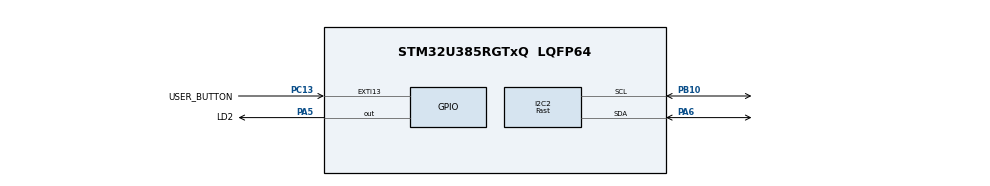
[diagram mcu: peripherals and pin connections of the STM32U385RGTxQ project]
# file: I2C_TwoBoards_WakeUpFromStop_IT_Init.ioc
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CORTEX_M33_NS.userName=CORTEX_M33
I2C2.Analog_Filter=I2C_ANALOGFILTER_DISABLE
I2C2.I2C_Fall_Time=10
I2C2.I2C_Rise_Time=100
I2C2.I2C_Speed_Mode=I2C_Fast
I2C2.OwnAddress=SLAVE_OWN_ADDRESS
I2C2.Timing=0x20601336
Mcu.Family=STM32U3
Mcu.Name=STM32U385RGTxQ
Mcu.Package=LQFP64
NVIC.EXTI13_IRQn=true\:0\:0\:false\:false\:true\:true\:true\:true
NVIC.PriorityGroup=NVIC_PRIORITYGROUP_4
PA5.GPIO_Label=LD2
PA5.Signal=GPIO_Output
PA6.GPIO_Pu=GPIO_PULLUP
PA6.GPIO_Speed=GPIO_SPEED_FREQ_HIGH
PA6.Mode=I2C
PA6.Signal=I2C2_SDA
PB10.GPIO_Pu=GPIO_PULLUP
PB10.GPIO_Speed=GPIO_SPEED_FREQ_HIGH
PB10.Mode=I2C
PB10.Signal=I2C2_SCL
PC13.GPIO_Label=USER_BUTTON
PC13.GPIO_ModeDefaultEXTI=GPIO_MODE_IT_RISING
PC13.GPIO_PuPd=GPIO_PULLDOWN
PC13.Signal=GPXTI13
ProjectManager.HeapSize=0x200
ProjectManager.StackSize=0x400
ProjectManager.TargetToolchain=EWARM V9.30
RCC.ADCFreq_Value=96000000
RCC.AHBFreq_Value=96000000
RCC.APB1Freq_Value=96000000
RCC.APB1TimFreq_Value=96000000
RCC.APB2Freq_Value=96000000
RCC.APB2TimFreq_Value=96000000
RCC.APB3Freq_Value=96000000
RCC.CodegenConfigPeriph=false
RCC.CortexFreq_Value=12000000
RCC.HCLKFreq_Value=96000000
RCC.HSE_VALUE=16000000
RCC.HSI48_VALUE=48000000
RCC.HSI_VALUE=16000000
RCC.I2C1CLockSelection=RCC_I2C1CLKSOURCE_MSIK
RCC.I2C2CLockSelection=RCC_I2C2CLKSOURCE_MSIK
RCC.LSE_VALUE=32768
RCC.LSIDIV_VALUE=32000
RCC.MSISDIV=RCC_MSI_DIV1
RCC.SYSCLKFreq_VALUE=96000000
RCC.USBFreq_Value=96000000
VP_ICACHE_VS_ICACHE.Mode=DirectMappedCache
VP_PWR_VS_DBSignals.Mode=DisableDeadBatterySignals
VP_PWR_VS_LPOM.Mode=PowerOptimisation
VP_PWR_VS_SECSignals.Mode=Security/Privilege
board=custom

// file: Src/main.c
/* USER CODE BEGIN Header */
/**
  ******************************************************************************
  * @file    Examples_LL/I2C/I2C_TwoBoards_WakeUpFromStop_IT_Init/Src/main.c
  * @author  MCD Application Team
  * @brief   This example describes how to send/receive bytes over I2C IP using
  *          the STM32U3xx I2C LL API.
  *          Peripheral initialization done using LL unitary services functions.
  ******************************************************************************
  * @attention
  *
  * Copyright (c) 2024 STMicroelectronics.
  * All rights reserved.
  *
  * This software is licensed under terms that can be found in the LICENSE file
  * in the root directory of this software component.
  * If no LICENSE file comes with this software, it is provided AS-IS.
  *
  ******************************************************************************
  */
/* USER CODE END Header */
#include "main.h"

/* USER CODE BEGIN PD */
/**
  * @brief I2C devices settings
  */

/**
  * @brief Define related to SlaveTransmit process
  */
#define SLAVE_BYTE_TO_SEND       0xA5

/* USER CODE END PD */

/* USER CODE BEGIN PV */

#ifndef SLAVE_BOARD
/**
  * @brief Variables related to MasterReceive process
  */
uint8_t      aReceiveBuffer[0xF] = {0};
__IO uint8_t ubReceiveIndex      = 0;
__IO uint8_t ubButtonPress       = 0;
#endif /* SLAVE_BOARD */

/* USER CODE END PV */

void SystemClock_Config(void);
static void MX_GPIO_Init(void);
static void MX_ICACHE_Init(void);
static void MX_I2C2_Init(void);
/* USER CODE BEGIN PFP */
#ifndef SLAVE_BOARD
#endif /* MASTER_BOARD */
void     LED_On(void);
void     LED_Off(void);
void     LED_Blinking(uint32_t Period);
#ifdef SLAVE_BOARD
void     Configure_PWR(void);
void     EnterSTOP0Mode(void);
#else /* MASTER_BOARD */
void     WaitForUserButtonPress(void);
void     Handle_I2C_Master(void);
#endif /* SLAVE_BOARD */

/* USER CODE END PFP */

int main(void)
{

  /* MCU Configuration--------------------------------------------------------*/

  /* Reset of all peripherals, Initializes the Flash interface and the Systick. */

  /* System interrupt init*/
  NVIC_SetPriorityGrouping(NVIC_PRIORITYGROUP_4);

  /* Configure the system clock */
  SystemClock_Config();

  /* Initialize all configured peripherals */
  MX_GPIO_Init();
  MX_ICACHE_Init();
  MX_I2C2_Init();
  /* USER CODE BEGIN 2 */
#ifndef SLAVE_BOARD
#endif /* SLAVE_BOARD */

  /* Set LD2 Off */
  LED_Off();

#ifdef SLAVE_BOARD
  /* Configure Power IP */
  Configure_PWR();

  /* Enter Stop0 mode */
  EnterSTOP0Mode();
#else /* MASTER_BOARD */
  /* Wait for User push-button press to start transfer */
  WaitForUserButtonPress();

  /* Handle I2C2 events (Master) */
  Handle_I2C_Master();
#endif /* SLAVE_BOARD */

  /* USER CODE END 2 */

  /* Infinite loop */
  while (1)
  {

  }
}

void SystemClock_Config(void)
{
  /** Enable Epod Booster
  */
  LL_AHB1_GRP2_EnableClock(LL_AHB1_GRP2_PERIPH_PWR);
  LL_RCC_SetEPODBoosterClkSource(LL_RCC_EPODBOOSTCLKSRCE_MSIS);
  LL_RCC_SetEPODBoosterClkPrescaler(LL_RCC_EPODBOOSTCLKPRESCAL_1);
  LL_PWR_EnableEPODBooster();
  while(LL_PWR_IsActiveFlag_BOOST() != 1U)
  {
  }

  /** Configure the main internal regulator output voltage
  */
  LL_PWR_SetRegulVoltageScaling(LL_PWR_REGU_VOLTAGE_SCALE1);
  while(LL_PWR_GetRegulCurrentVOS() != LL_PWR_REGU_VOLTAGE_SCALE1)
  {
  }

  /** Set Flash latency before switching to MSIS
  */
  LL_FLASH_SetLatency(LL_FLASH_LATENCY_2);
  while(LL_FLASH_GetLatency() != LL_FLASH_LATENCY_2)
  {
  }

  /** Activate MSIS as source
  */
  LL_RCC_MSIS_SetClockSource(LL_RCC_MSIS_CLOCK_SOURCE_RC0);
  LL_RCC_MSIS_SetClockDivision(LL_RCC_MSIS_CLOCK_SOURCE_RC_DIV_1);
  LL_RCC_MSI_SetMSIxClockRange();
  LL_RCC_MSIK_SetClockSource(LL_RCC_MSIK_CLOCK_SOURCE_RC0);
  LL_RCC_MSIK_SetClockDivision(LL_RCC_MSIK_CLOCK_SOURCE_RC_DIV_1);
  LL_RCC_SetSysClkSource(LL_RCC_SYS_CLKSOURCE_MSIS);

  /** Wait till System clock is ready
  */
  while(LL_RCC_GetSysClkSource() != LL_RCC_SYS_CLKSOURCE_MSIS)
  {
  }

  LL_RCC_SetAHBPrescaler(LL_RCC_HCLK_SYSCLK_DIV_1);
  LL_RCC_SetAPB1Prescaler(LL_RCC_APB1_HCLK_DIV_1);
  LL_RCC_SetAPB2Prescaler(LL_RCC_APB2_HCLK_DIV_1);
  LL_RCC_SetAPB3Prescaler(LL_RCC_APB3_HCLK_DIV_1);

  LL_Init1msTick(96000000);

  LL_SetSystemCoreClock(96000000);
}

static void MX_I2C2_Init(void)
{

  LL_I2C_InitTypeDef I2C_InitStruct = {0};

  LL_GPIO_InitTypeDef GPIO_InitStruct = {0};

  LL_RCC_SetI2CClockSource(LL_RCC_I2C2_CLKSOURCE_MSIK);

  LL_AHB2_GRP1_EnableClock(LL_AHB2_GRP1_PERIPH_GPIOA);
  LL_AHB2_GRP1_EnableClock(LL_AHB2_GRP1_PERIPH_GPIOB);
  /**I2C2 GPIO Configuration
  PA6   ------> I2C2_SDA
  PB10   ------> I2C2_SCL
  */
  GPIO_InitStruct.Pin = LL_GPIO_PIN_6;
  GPIO_InitStruct.Mode = LL_GPIO_MODE_ALTERNATE;
  GPIO_InitStruct.Speed = LL_GPIO_SPEED_FREQ_HIGH;
  GPIO_InitStruct.OutputType = LL_GPIO_OUTPUT_OPENDRAIN;
  GPIO_InitStruct.Pull = LL_GPIO_PULL_UP;
  GPIO_InitStruct.Alternate = LL_GPIO_AF_4;
  LL_GPIO_Init(GPIOA, &GPIO_InitStruct);

  GPIO_InitStruct.Pin = LL_GPIO_PIN_10;
  GPIO_InitStruct.Mode = LL_GPIO_MODE_ALTERNATE;
  GPIO_InitStruct.Speed = LL_GPIO_SPEED_FREQ_HIGH;
  GPIO_InitStruct.OutputType = LL_GPIO_OUTPUT_OPENDRAIN;
  GPIO_InitStruct.Pull = LL_GPIO_PULL_UP;
  GPIO_InitStruct.Alternate = LL_GPIO_AF_4;
  LL_GPIO_Init(GPIOB, &GPIO_InitStruct);

  /* Peripheral clock enable */
  LL_APB1_GRP1_EnableClock(LL_APB1_GRP1_PERIPH_I2C2);

  /* USER CODE BEGIN I2C2_Init 1 */
#ifdef SLAVE_BOARD
  /* Set I2C2 clock source as SYSCLK */
  LL_RCC_SetI2CClockSource(LL_RCC_I2C2_CLKSOURCE_MSIK);
#endif
  /* Configure NVIC for I2C2 */
  /* Configure Event IT:
   *  - Set priority for I2C2_EV_IRQn
   *  - Enable I2C2_EV_IRQn
   */
  NVIC_SetPriority(I2C2_EV_IRQn, 0);
  NVIC_EnableIRQ(I2C2_EV_IRQn);

  /* Configure Error IT:
   *  - Set priority for I2C2_ER_IRQn
   *  - Enable I2C2_ER_IRQn
   */
  NVIC_SetPriority(I2C2_ER_IRQn, 0);
  NVIC_EnableIRQ(I2C2_ER_IRQn);

  /* USER CODE END I2C2_Init 1 */

  /** I2C Initialization
  */
  LL_I2C_EnableAutoEndMode(I2C2);
  LL_I2C_DisableOwnAddress2(I2C2);
  LL_I2C_DisableGeneralCall(I2C2);
  LL_I2C_EnableClockStretching(I2C2);
  I2C_InitStruct.PeripheralMode = LL_I2C_MODE_I2C;
  I2C_InitStruct.Timing = 0x20601336;
  I2C_InitStruct.AnalogFilter = LL_I2C_ANALOGFILTER_DISABLE;
  I2C_InitStruct.DigitalFilter = 0;
  I2C_InitStruct.OwnAddress1 = SLAVE_OWN_ADDRESS;
  I2C_InitStruct.TypeAcknowledge = LL_I2C_ACK;
  I2C_InitStruct.OwnAddrSize = LL_I2C_OWNADDRESS1_7BIT;
  LL_I2C_Init(I2C2, &I2C_InitStruct);
  LL_I2C_SetOwnAddress2(I2C2, 0, LL_I2C_OWNADDRESS2_NOMASK);
  /* USER CODE BEGIN I2C2_Init 2 */
#ifdef SLAVE_BOARD
  /* Configure the Own Address1 :
   *  - OwnAddress1 is SLAVE_OWN_ADDRESS
   *  - OwnAddrSize is LL_I2C_OWNADDRESS1_7BIT
   *  - Own Address1 is enabled
   */
  LL_I2C_SetOwnAddress1(I2C2, SLAVE_OWN_ADDRESS, LL_I2C_OWNADDRESS1_7BIT);
  LL_I2C_EnableOwnAddress1(I2C2);

  /* Enable Wake Up From Stop */
  LL_I2C_EnableWakeUpFromStop(I2C2);

  /*Enable I2C2 address match/error interrupts:
   *  - Enable Address Match Interrupt
   *  - Enable Not acknowledge received interrupt
   *  - Enable Error interrupts
   *  - Enable Stop interrupt
   */
  LL_I2C_EnableIT_ADDR(I2C2);

#else /* MASTER_BOARD */
  /* Enable I2C2 transfer complete/error interrupts:
   *  - Enable Receive Interrupt
   *  - Enable Not acknowledge received interrupt
   *  - Enable Error interrupts
   *  - Enable Stop interrupt
   */
  LL_I2C_EnableIT_RX(I2C2);
#endif /* SLAVE_BOARD */
  LL_I2C_EnableIT_NACK(I2C2);
  LL_I2C_EnableIT_ERR(I2C2);
  LL_I2C_EnableIT_STOP(I2C2);

  /* USER CODE END I2C2_Init 2 */

}

static void MX_ICACHE_Init(void)
{

  /** Enable instruction cache in 1-way (direct mapped cache)
  */
  LL_ICACHE_SetMode(LL_ICACHE_1WAY);
  LL_ICACHE_Enable();

}

static void MX_GPIO_Init(void)
{
  LL_EXTI_InitTypeDef EXTI_InitStruct = {0};
  LL_GPIO_InitTypeDef GPIO_InitStruct = {0};

  /* GPIO Ports Clock Enable */
  LL_AHB2_GRP1_EnableClock(LL_AHB2_GRP1_PERIPH_GPIOC);
  LL_AHB2_GRP1_EnableClock(LL_AHB2_GRP1_PERIPH_GPIOA);
  LL_AHB2_GRP1_EnableClock(LL_AHB2_GRP1_PERIPH_GPIOB);

  /**/
  LL_GPIO_ResetOutputPin(LD2_GPIO_Port, LD2_Pin);

  /**/
  LL_EXTI_SetEXTISource(LL_EXTI_CONFIG_PORTC, LL_EXTI_CONFIG_LINE13);

  /**/
  EXTI_InitStruct.Line_0_31 = LL_EXTI_LINE_13;
  EXTI_InitStruct.LineCommand = ENABLE;
  EXTI_InitStruct.Mode = LL_EXTI_MODE_IT;
  EXTI_InitStruct.Trigger = LL_EXTI_TRIGGER_RISING;
  LL_EXTI_Init(&EXTI_InitStruct);

  /**/
  LL_GPIO_SetPinPull(USER_BUTTON_GPIO_Port, USER_BUTTON_Pin, LL_GPIO_PULL_DOWN);

  /**/
  LL_GPIO_SetPinMode(USER_BUTTON_GPIO_Port, USER_BUTTON_Pin, LL_GPIO_MODE_INPUT);

  /**/
  GPIO_InitStruct.Pin = LD2_Pin;
  GPIO_InitStruct.Mode = LL_GPIO_MODE_OUTPUT;
  GPIO_InitStruct.Speed = LL_GPIO_SPEED_FREQ_LOW;
  GPIO_InitStruct.OutputType = LL_GPIO_OUTPUT_PUSHPULL;
  GPIO_InitStruct.Pull = LL_GPIO_PULL_NO;
  LL_GPIO_Init(LD2_GPIO_Port, &GPIO_InitStruct);

  /* EXTI interrupt init*/
  NVIC_SetPriority(EXTI13_IRQn, NVIC_EncodePriority(NVIC_GetPriorityGrouping(),0, 0));
  NVIC_EnableIRQ(EXTI13_IRQn);

}

/* USER CODE BEGIN 4 */
#ifndef SLAVE_BOARD
#endif /* MASTER_BOARD */

#ifdef SLAVE_BOARD
/**
  * @brief  Function to configure and initialize PWR IP.
  * @param  None
  * @retval None
  */
void Configure_PWR(void)
{
  /* Enable Power Clock */
  LL_AHB1_GRP2_EnableClock(LL_AHB1_GRP2_PERIPH_PWR);

}

/**
  * @brief  Function to configure and enter in Stop0 Mode.
  * @param  None
  * @retval None
  */
void EnterSTOP0Mode(void)
{
  /** Request to enter Stop0 mode:
    *  - Following procedure describe in STM32U3xx Reference Manual
    *  - See PWR part, section Low-power modes, STOP0 mode
    */
  /* Set STOP0 mode when CPU enters deepsleep */
  LL_PWR_SetPowerMode(LL_PWR_MODE_STOP0);

  /* Set SLEEPDEEP bit of Cortex System Control Register */
  LL_LPM_EnableDeepSleep();

  /* Request Wait For Interrupt */
  __WFI();
}
#endif /* SLAVE_BOARD */

/**
  * @brief  Turn-on LD2.
  * @param  None
  * @retval None
  */
void LED_On(void)
{
  /* Turn LD2 on */
  LL_GPIO_SetOutputPin(LD2_GPIO_Port, LD2_Pin);
}

/**
  * @brief  Turn-off LD2.
  * @param  None
  * @retval None
  */
void LED_Off(void)
{
  /* Turn LD2 off */
  LL_GPIO_ResetOutputPin(LD2_GPIO_Port, LD2_Pin);
}

/**
  * @brief  Set LD2 to Blinking mode for an infinite loop (toggle period based on value provided as input parameter).
  * @param  Period : Period of time (in ms) between each toggling of LED
  *   This parameter can be user defined values. Pre-defined values used in that example are :
  *     @arg LED_BLINK_FAST : Fast Blinking
  *     @arg LED_BLINK_SLOW : Slow Blinking
  *     @arg LED_BLINK_ERROR : Error specific Blinking
  * @retval None
  */
void LED_Blinking(uint32_t Period)
{
  /* Turn LD2 on */
  LL_GPIO_SetOutputPin(LD2_GPIO_Port, LD2_Pin);

  /* Toggle IO in an infinite loop */
  while (1)
  {
    LL_GPIO_TogglePin(LD2_GPIO_Port, LD2_Pin);
    LL_mDelay(Period);
  }
}

/******************************************************************************/
/*   IRQ HANDLER TREATMENT Functions                                          */
/******************************************************************************/
#ifdef SLAVE_BOARD
/**
  * @brief  Function called from I2C IRQ Handler when TXIS flag is set
  *         Function is in charge of transmit a byte on I2C lines.
  * @param  None
  * @retval None
  */
void Slave_Ready_To_Transmit_Callback(void)
{
  /* Send the Byte requested by the Master */
  LL_I2C_TransmitData8(I2C2, SLAVE_BYTE_TO_SEND);
}

/**
  * @brief  Function called from I2C IRQ Handler when STOP flag is set
  *         LD2 is On if data are correct.
  * @param  None
  * @retval None
  */
void Slave_Complete_Callback(void)
{
  /* Turn LD2 On:
   *  - Expected bytes have been sent
   *  - Slave Tx sequence completed successfully
   */
  LED_On();
}
#else /* MASTER_BOARD */
/**
  * @brief  Wait for User push-button press to start transfer.
  * @param  None
  * @retval None
  */
/*  */
void WaitForUserButtonPress(void)
{
  while (ubButtonPress == 0)
  {
    LL_GPIO_TogglePin(LD2_GPIO_Port, LD2_Pin);
    LL_mDelay(LED_BLINK_FAST);
  }
  /* Turn LD2 off */
  LL_GPIO_ResetOutputPin(LD2_GPIO_Port, LD2_Pin);
}

/**
  * @brief  Function to manage User push-button
  * @param  None
  * @retval None
  */
void UserButton_Callback(void)
{
  /* Update User push-button variable : to be checked in waiting loop in main program */
  ubButtonPress = 1;
}

/**
  * @brief  This Function handle Master events to perform a transmission process
  * @note  This function is composed in one step :
  *        -1- Initiate a Start condition to the Slave device
  * @param  None
  * @retval None
  */
void Handle_I2C_Master(void)
{
  /* (1) Initiate a Start condition to the Slave device ***********************/

  /* Master Generate Start condition for a read request:
   *  - to the Slave with a 7-Bit SLAVE_OWN_ADDRESS
   *  - with a auto stop condition generation when receive 1 byte
   */
  LL_I2C_HandleTransfer(I2C2, SLAVE_OWN_ADDRESS, LL_I2C_ADDRSLAVE_7BIT, 1, LL_I2C_MODE_AUTOEND, LL_I2C_GENERATE_START_READ);
}

/**
  * @brief  Function called from I2C IRQ Handler when RXNE flag is set
  *         Function is in charge of reading byte received on I2C lines.
  * @param  None
  * @retval None
  */
void Master_Reception_Callback(void)
{
  /* Read character in Receive Data register.
  RXNE flag is cleared by reading data in RXDR register */
  aReceiveBuffer[ubReceiveIndex++] = LL_I2C_ReceiveData8(I2C2);
}

/**
  * @brief  Function called from I2C IRQ Handler when STOP flag is set
  *         Function is in charge of checking data received,
  *         LD2 is On if data are correct.
  * @param  None
  * @retval None
  */
void Master_Complete_Callback(void)
{
  /* Read Received character. RXNE flag is cleared by reading of RXDR register */
  if (aReceiveBuffer[ubReceiveIndex - 1] == SLAVE_BYTE_TO_SEND)
  {
    /* Turn LD2 On:
     *  - Expected byte has been received
     *  - Master Rx sequence completed successfully
     */
    LED_On();
  }
  else
  {
    /* Call Error function */
    Error_Callback();
  }
}
#endif /* SLAVE_BOARD */

/**
  * @brief  Function called in case of error detected in I2C IT Handler
  * @param  None
  * @retval None
  */
void Error_Callback(void)
{
#ifdef SLAVE_BOARD
  /* Disable I2C2_EV_IRQn */
  NVIC_DisableIRQ(I2C2_EV_IRQn);
#else
  /* Disable I2C2_EV_IRQn */
  NVIC_DisableIRQ(I2C2_EV_IRQn);
#endif /* SLAVE_BOARD */

  /* Disable I2C2_ER_IRQn */
#ifdef SLAVE_BOARD
  NVIC_DisableIRQ(I2C2_ER_IRQn);
#else
  /* Disable I2C2_ER_IRQn */
  NVIC_DisableIRQ(I2C2_ER_IRQn);
#endif /* SLAVE_BOARD */

  /* Unexpected event : Set LD2 to Blinking mode to indicate error occurs */
  LED_Blinking(LED_BLINK_ERROR);
}

/* USER CODE END 4 */

void Error_Handler(void)
{
  /* USER CODE BEGIN Error_Handler_Debug */
  /* User can add his own implementation to report the HAL error return state */
  /* Infinite Loop */
  while(1)
  {
  }
  /* USER CODE END Error_Handler_Debug */
}

#ifdef  USE_FULL_ASSERT
/**
  * @brief  Reports the name of the source file and the source line number
  *         where the assert_param error has occurred.
  * @param  file: pointer to the source file name
  * @param  line: assert_param error line source number
  * @retval None
  */
void assert_failed(uint8_t *file, uint32_t line)
{
  /* USER CODE BEGIN 6 */
  /* User can add his own implementation to report the file name and line number,
     tex: printf("Wrong parameters value: file %s on line %d\r\n", file, line) */
  /* Infinite Loop */
  while(1)
  {
  }
  /* USER CODE END 6 */
}
#endif /* USE_FULL_ASSERT */
